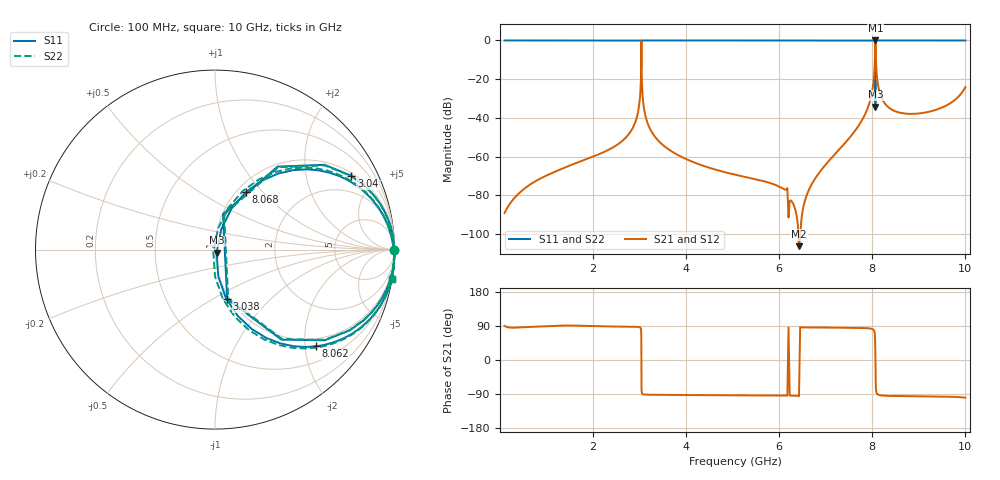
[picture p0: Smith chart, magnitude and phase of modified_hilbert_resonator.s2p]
! Sonnet Data File
! From: emgraph Version : 14.54
! From Emgraph Data: design1
! Data File Written: 03/09/2015 15:00:24
!< HDATE 03/09/2015 14:53:01
!< MDATE 03/09/2015 14:57:05
# GHZ S DB R 50.00000
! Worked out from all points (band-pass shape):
!   789 points, 100 MHz to 10 GHz, reference 50 ohm
!   highest |S21| = -0.01 dB at 8.066 GHz (marker M1); lowest = -106.3 dB at 6.425 GHz (marker M2)
!   |S21| within 3 dB of the highest: 3.037298 GHz to 3.039287 GHz (1.989 MHz wide, 0.0655 % of centre); 8.06289 GHz to 8.070267 GHz (7.376 MHz wide, 0.0914 % of centre)
!   lowest |S11| = -34.2 dB at 8.066 GHz (marker M3), VSWR 1.04, Z = 50.9 - j1.76 ohm
!   |S11| at or under -10 dB: 3.03793 GHz to 3.038711 GHz (781.2 kHz wide, 0.0257 % of centre); 8.065305 GHz to 8.067824 GHz (2.519 MHz wide, 0.0312 % of centre)
!   |S22| runs from -34.7 to 0.0 dB; largest |S21 - S12| = 0
!   S11 on the Smith chart (normalised r, x): 100 MHz: open; 3.038 GHz: 0.97, -0.58; 3.04 GHz: 1.12, +3.62; 8.062 GHz: 0.82, -2.24; 8.068 GHz: 1.10, +0.81; 10 GHz: 0, -12
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0.1  -0.00 -0.1  -89.18 89.9  -89.18 89.9  -0.00 -0.1
!< P1 F=0.1 Eeff=(5.92679282 -5.4743e-6) Z0=(76.0846776 3.51698e-5) R=0.02682379 C=0.05238463
!< P2 F=0.1 Eeff=(5.92679282 -5.4743e-6) Z0=(76.0846776 3.51698e-5) R=0.02682379 C=0.05238463
0.225  -0.00 -0.1  -83.98 85.4  -83.98 85.4  -0.00 -0.1
0.475  -0.00 -0.3  -77.57 86.3  -77.57 86.3  -0.00 -0.3
1  0.00 -0.6  -69.81 89.0  -69.81 89.0  0.00 -0.6
2.175  0.00 -1.4  -58.30 88.8  -58.30 88.8  0.00 -1.4
2.875  -0.00 -2.2  -44.12 87.8  -44.12 87.8  -0.00 -2.2
3  -0.00 -3.4  -31.66 86.6  -31.66 86.6  -0.00 -3.4
3.038  -10.96 -76.1  -0.36 14.5  -0.36 14.5  -10.96 -74.9
3.04  -1.27 28.4  -5.96 -61.7  -5.96 -61.7  -1.27 28.2
3.0545  -0.02 1.6  -24.27 -88.4  -24.27 -88.4  -0.02 1.6
3.1  -0.00 -1.0  -35.93 -91.0  -35.93 -91.0  -0.00 -1.0
3.25  -0.00 -1.8  -46.85 -91.8  -46.85 -91.8  -0.00 -1.8
4.65  0.00 -2.9  -66.90 -93.0  -66.90 -93.0  0.00 -2.9
6.425  -0.00 -4.1  -106.32 -95.6  -106.32 -95.6  0.00 -4.1
7.775  -0.00 -5.6  -41.33 84.4  -41.33 84.4  -0.00 -5.7
8  -0.01 -8.2  -25.88 81.7  -25.88 81.7  -0.01 -8.3
8.062  -2.17 -43.8  -4.06 45.7  -4.06 45.7  -2.17 -44.6
8.0665  -34.22 -62.6  -0.01 -4.5  -0.01 -4.5  -34.66 -121.1
8.068  -8.82 61.8  -0.62 -26.6  -0.62 -26.6  -8.82 64.6
8.1  -0.06 1.1  -18.82 -88.9  -18.82 -88.9  -0.06 1.2
8.425  -0.00 -4.8  -35.82 -94.8  -35.82 -94.8  -0.00 -4.8
10  -0.02 -9.5  -24.11 -99.5  -24.11 -99.5  -0.02 -9.5
